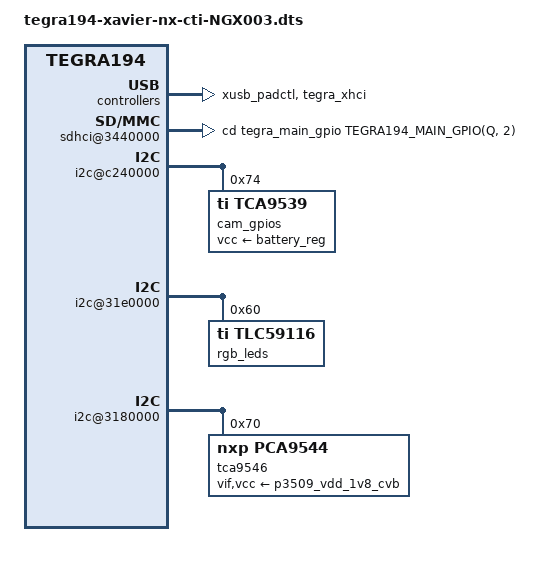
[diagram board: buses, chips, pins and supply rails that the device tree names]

/dts-v1/;
#include "tegra194-xavier-nx-cti-base.dtsi"

/ {
	nvidia,dtsfilename = "tegra194-xavier-nx-cti-NGX003.dts";
	
	
	xusb_padctl: xusb_padctl@3520000 {
	status = "okay";
		ports {
			usb3-2 {
				status = "okay";
				nvidia,usb2-companion = <2>;
			};
		};
	};
	
	tegra_xudc: xudc@3550000 {
		/*phys = <&{/xusb_padctl@3520000/pads/usb2/lanes/usb2-0}>,
				<&{/xusb_padctl@3520000/pads/usb3/lanes/usb3-2}>;
		phy-names = "usb2-0", "usb3-2";
		nvidia,xusb-padctl = <&xusb_padctl>;
		nvidia,boost_cpu_freq = <1200>;*/
		status = "disabled";
	};

	tegra_xhci: xhci@3610000 {
		phys = <&{/xusb_padctl@3520000/pads/usb2/lanes/usb2-0}>,
			<&{/xusb_padctl@3520000/pads/usb2/lanes/usb2-1}>,
			<&{/xusb_padctl@3520000/pads/usb2/lanes/usb2-2}>,
			<&{/xusb_padctl@3520000/pads/usb3/lanes/usb3-2}>;
		phy-names = "usb2-0", "usb2-1", "usb2-2", "usb3-2";
		nvidia,xusb-padctl = <&xusb_padctl>;
		status = "okay";
	};
	

    sdhci@3440000 {
        cd-gpios = <&tegra_main_gpio TEGRA194_MAIN_GPIO(Q, 2) 0>;
        status = "okay";
    };


    /**define tca9539 i2c-0*/
    i2c@c240000 {
        status = "okay";
        
        cam_gpios:tca9539@74{
            status = "okay";
            compatible="ti,tca9539";
            vcc-supply = <&battery_reg>;
            gpio-controller;
            #gpio-cells=<2>;
            reg=<0x74>;
        };
    };	

    /** define tlc59116PWR on i2c-1*/
    i2c@31e0000 {
        status = "okay";
        rgb_leds:tlc59116@60{
            status = "okay";            
            compatible="ti,tlc59116";
            #address-cells = <1>;
            #size-cells = <0>;
            reg=<0x60>;

            red@0 {
                label="red";
                reg = <0x0>;
            };
            green@1 {
                label="green";
                reg = <0x1>;
            };
            blue@2 {
                label="blue";
                reg = <0x2>;
            }; 

        };
    };
	
	/** required for i2c pins on P9 header*/
	i2c@3180000 {
		tca9546@70 {
			compatible = "nxp,pca9544";
			reg = <0x70>;
			#address-cells = <1>;
			#size-cells = <0>;			
			//skip_mux_detect = "yes";
			vif-supply = <&p3509_vdd_1v8_cvb>;
			vcc-supply = <&p3509_vdd_1v8_cvb>;
			vcc_lp = "vcc";
		};
	};
	


};
